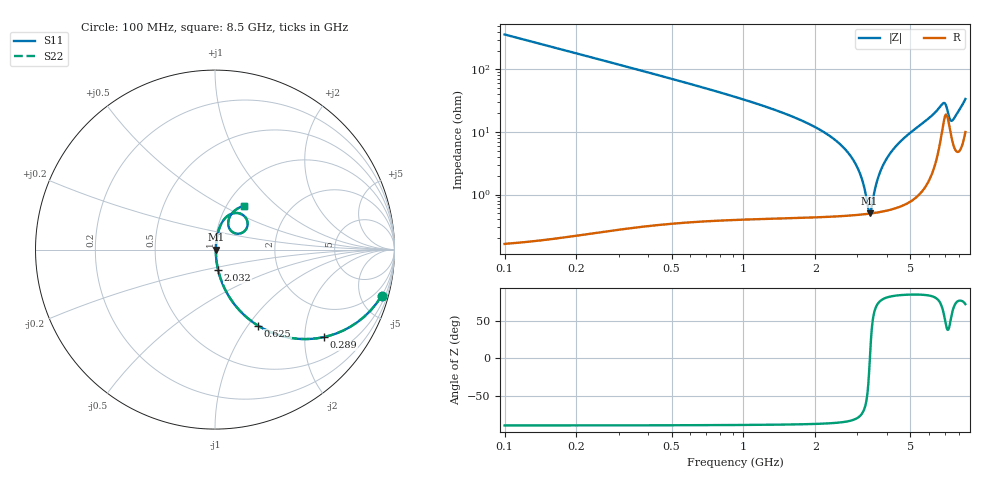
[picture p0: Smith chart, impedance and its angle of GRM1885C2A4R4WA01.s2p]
!Murata Part Number: GRM1885C2A4R4WA01
!These Parameters are Measured in Series Mode Connection
!Data Generated on Mar 30, 2021
!  o--ll--o
!Port1  Port2
!  o------o
!Operation Temp=25[degC], DC Bias Voltage=0[V]
!Freq. Start=100[MHz] Stop=9[GHz] 401[Steps]
# Hz S RI R 50
!Freq.(Hz) S11(Real) S11(Imag) S21(Real) S21(Imag) S12(Real) S12(Imag) S22(Real) S22(Imag)
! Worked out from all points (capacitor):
!   401 points, 100 MHz to 8.5 GHz, reference 50 ohm
!   read as one part in series: C = 4.4 pF near 142 MHz
!   lowest |Z| = 498 mohm at 3.376 GHz (marker M1)
!   series resonance near 3.384 GHz, so ESL is about 500 pH
!   S11 on the Smith chart (normalised r, x): 100 MHz: 1.00, -7.23; 289 MHz: 1.01, -2.48; 625 MHz: 1.01, -1.12; 2.032 GHz: 1.01, -0.23; 8.5 GHz: 1.20, +0.64
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1e8  0.9288 -0.257  0.0712 0.257  0.0712 0.257  0.9288 -0.257
2.89e8  0.6063 -0.4875  0.3937 0.4875  0.3937 0.4875  0.6063 -0.4875
4.57e8  0.3766 -0.4824  0.6234 0.4824  0.6234 0.4824  0.3766 -0.4824
6.25e8  0.2393 -0.4234  0.7607 0.4234  0.7607 0.4234  0.2393 -0.4234
9.61e8  0.1099 -0.3071  0.8901 0.3071  0.8901 0.3071  0.1099 -0.3071
1.507e9  0.0398 -0.185  0.9602 0.185  0.9602 0.185  0.0398 -0.185
2.032e9  0.0172 -0.1127  0.9828 0.1127  0.9828 0.1127  0.0172 -0.1127
2.557e9  0.00826 -0.0612  0.9917 0.0612  0.9917 0.0612  0.00826 -0.0612
2.914e9  0.00572 -0.0327  0.9943 0.0327  0.9943 0.0327  0.00572 -0.0327
3.145e9  0.00503 -0.0161  0.995 0.0161  0.995 0.0161  0.00503 -0.0161
3.376e9  0.00493 -0.000539  0.9951 0.000539  0.9951 0.000539  0.00493 -0.000539
3.418e9  0.00496 0.00219  0.995 -0.00219  0.995 -0.00219  0.00496 0.00219
3.607e9  0.00531 0.0142  0.9947 -0.0142  0.9947 -0.0142  0.00531 0.0142
3.754e9  0.00578 0.0232  0.9942 -0.0232  0.9942 -0.0232  0.00578 0.0232
3.985e9  0.00687 0.0369  0.9931 -0.0369  0.9931 -0.0369  0.00687 0.0369
4.3e9  0.00899 0.0551  0.991 -0.0551  0.991 -0.0551  0.00899 0.0551
5.707e9  0.0317 0.1372  0.9683 -0.1372  0.9683 -0.1372  0.0317 0.1372
6.799e9  0.1424 0.1997  0.8576 -0.1997  0.8576 -0.1997  0.1424 0.1997
7.114e9  0.1687 0.1075  0.8313 -0.1075  0.8313 -0.1075  0.1687 0.1075
7.303e9  0.1135 0.0903  0.8865 -0.0903  0.8865 -0.0903  0.1135 0.0903
7.45e9  0.0859 0.1086  0.9141 -0.1086  0.9141 -0.1086  0.0859 0.1086
8.5e9  0.1622 0.2444  0.8378 -0.2444  0.8378 -0.2444  0.1622 0.2444
